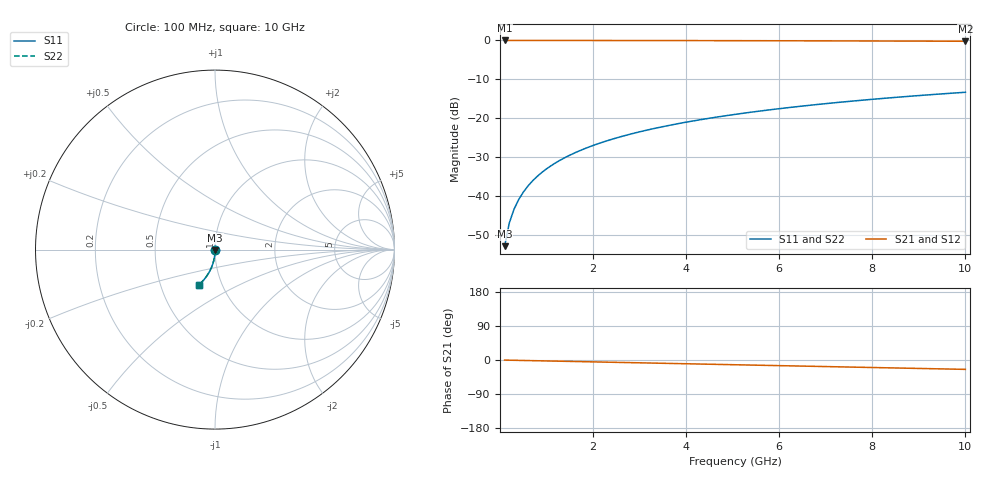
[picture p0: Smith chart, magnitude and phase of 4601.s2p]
# Hz S RI R 50.00
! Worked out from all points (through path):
!   100 points, 100 MHz to 10 GHz, reference 50 ohm
!   highest |S21| = 0.00 dB at 100 MHz (marker M1); lowest = -0.2 dB at 10 GHz (marker M2)
!   group delay of S21, straight-line fit = 6.88 ps
!   lowest |S11| = -53.0 dB at 100 MHz (marker M3), VSWR 1.00, Z = 50 - j0.222 ohm
!   |S11| at or under -10 dB: start of sweep to end of sweep
!   |S22| runs from -53.0 to -13.3 dB; largest |S21 - S12| = 0
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1e8  0.000328 -0.00222  0.9996 -0.00431  0.9996 -0.00431  0.000328 -0.00222
2e8  0.000299 -0.00444  0.9996 -0.00862  0.9996 -0.00862  0.000299 -0.00444
3e8  0.00025 -0.00666  0.9995 -0.0129  0.9995 -0.0129  0.00025 -0.00666
4e8  0.000181 -0.00888  0.9995 -0.0172  0.9995 -0.0172  0.000181 -0.00888
5e8  9.27e-05 -0.0111  0.9993 -0.0216  0.9993 -0.0216  9.27e-05 -0.0111
6e8  -1.47e-05 -0.0133  0.9992 -0.0259  0.9992 -0.0259  -1.47e-05 -0.0133
7e8  -0.000141 -0.0155  0.9991 -0.0302  0.9991 -0.0302  -0.000141 -0.0155
8e8  -0.000287 -0.0178  0.9989 -0.0345  0.9989 -0.0345  -0.000287 -0.0178
9e8  -0.000452 -0.02  0.9987 -0.0388  0.9987 -0.0388  -0.000452 -0.02
1.1e9  -0.00084 -0.0244  0.9982 -0.0474  0.9982 -0.0474  -0.00084 -0.0244
1.4e9  -0.00157 -0.031  0.9973 -0.0603  0.9973 -0.0603  -0.00157 -0.031
1.8e9  -0.0028 -0.0399  0.9958 -0.0775  0.9958 -0.0775  -0.0028 -0.0399
2.1e9  -0.00393 -0.0464  0.9944 -0.0904  0.9944 -0.0904  -0.00393 -0.0464
2.5e9  -0.0057 -0.0552  0.9922 -0.1076  0.9922 -0.1076  -0.0057 -0.0552
2.9e9  -0.00777 -0.0639  0.9896 -0.1247  0.9896 -0.1247  -0.00777 -0.0639
3.4e9  -0.0108 -0.0746  0.9859 -0.146  0.9859 -0.146  -0.0108 -0.0746
4.2e9  -0.0166 -0.0915  0.9788 -0.1798  0.9788 -0.1798  -0.0166 -0.0915
5.1e9  -0.0245 -0.11  0.969 -0.2173  0.969 -0.2173  -0.0245 -0.11
5.9e9  -0.0326 -0.1259  0.9588 -0.2502  0.9588 -0.2502  -0.0326 -0.1259
6.7e9  -0.0419 -0.1411  0.9473 -0.2825  0.9473 -0.2825  -0.0419 -0.1411
8.4e9  -0.0648 -0.171  0.9184 -0.3489  0.9184 -0.3489  -0.0648 -0.171
1e10  -0.0899 -0.1954  0.8864 -0.4081  0.8864 -0.4081  -0.0899 -0.1954
